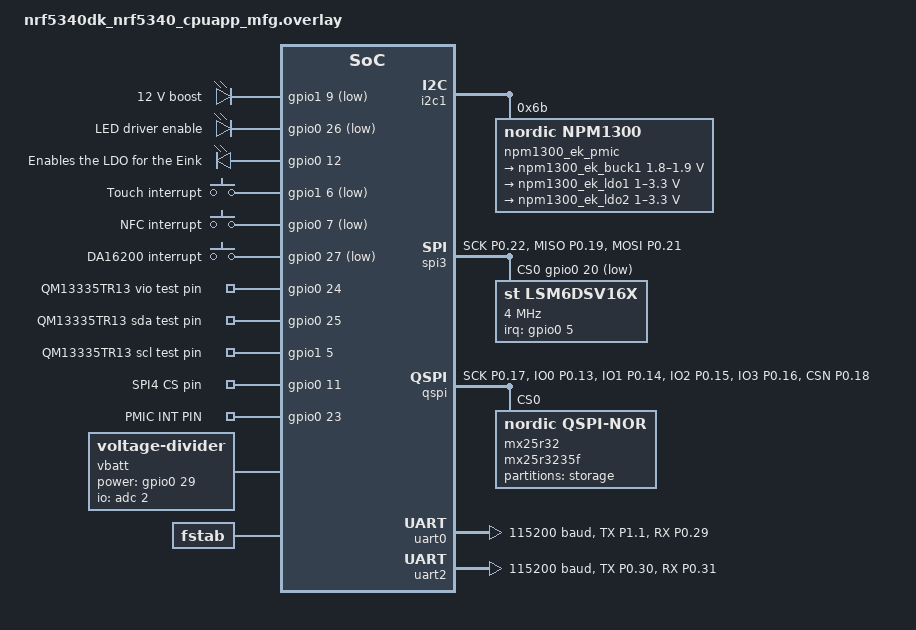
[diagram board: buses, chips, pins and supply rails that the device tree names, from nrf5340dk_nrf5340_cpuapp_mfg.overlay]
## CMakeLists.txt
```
# Copyright (c) 2023 Nordic Semiconductor ASA
# SPDX-License-Identifier: Apache-2.0

cmake_minimum_required(VERSION 3.20.0)

set(DTC_OVERLAY_FILE ./nrf5340dk_nrf5340_cpuapp_mfg.overlay)

add_compile_options(-Werror)

get_filename_component(APPLICATION_PROJECT_DIR
    ${CMAKE_CURRENT_LIST_DIR}/..
    ABSOLUTE
)


list(APPEND BOARD_ROOT ${APPLICATION_PROJECT_DIR})
list(APPEND DTS_ROOT ${APPLICATION_PROJECT_DIR})
message(ADDING BOARD_ROOT="${BOARD_ROOT}")
message(ADDING DTS_ROOT="${DTS_ROOT}")



find_package(Zephyr REQUIRED HINTS $ENV{ZEPHYR_BASE})

project(mfg_shell VERSION 1.0.1)
zephyr_library_include_directories(src/include)
target_sources(app PRIVATE src/main.c src/board.c src/shell.c src/utils.c)
add_subdirectory(src/pmic)
add_subdirectory(src/rffe)
add_subdirectory(src/modem)
add_subdirectory(src/wifi)
add_subdirectory(src/watchdog)
add_subdirectory(src/ble)
add_subdirectory(src/imu)
add_subdirectory(src/json)

add_definitions(-DAPP_VERSION_MAJOR_CMAKE=${PROJECT_VERSION_MAJOR})
add_definitions(-DAPP_VERSION_MINOR_CMAKE=${PROJECT_VERSION_MINOR})
add_definitions(-DAPP_VERSION_PATCH_CMAKE=${PROJECT_VERSION_PATCH})

# Get the current Git commit hash
execute_process(
  COMMAND git rev-parse --short=6 HEAD
  WORKING_DIRECTORY ${CMAKE_SOURCE_DIR}
  OUTPUT_VARIABLE GIT_HASH
  OUTPUT_STRIP_TRAILING_WHITESPACE
)

# Check if the repository is dirty
execute_process(
  COMMAND git status --porcelain
  WORKING_DIRECTORY ${CMAKE_SOURCE_DIR}
  OUTPUT_VARIABLE GIT_DIRTY_STATUS
  OUTPUT_STRIP_TRAILING_WHITESPACE
)

# Append '-dirty' to the version string if the repository is dirty
if(NOT GIT_DIRTY_STATUS STREQUAL "")
  set(GIT_HASH "${GIT_HASH}-dirty")
endif()

add_definitions(-DGIT_HASH_CMAKE=\"${GIT_HASH}\")

# Get the build machine name
execute_process(
  COMMAND hostname
  OUTPUT_VARIABLE BUILD_MACHINE
  OUTPUT_STRIP_TRAILING_WHITESPACE
)

# Get the build date
string(TIMESTAMP BUILD_DATE "%Y-%m-%d %H:%M:%S")

# Pass the variables to the code
add_definitions(-DBUILD_MACHINE_CMAKE=\"${BUILD_MACHINE}\")
add_definitions(-DBUILD_DATE_CMAKE=\"${BUILD_DATE}\")
```

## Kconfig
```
# Copyright (c) 2021 Nordic Semiconductor ASA
# SPDX-License-Identifier: Apache-2.0
#
# This file is the application Kconfig entry point. All application Kconfig
# options can be defined here or included via other application Kconfig files.
# You can browse these options using the west targets menuconfig (terminal) or
# guiconfig (GUI).

menu "Zephyr"
source "Kconfig.zephyr"
endmenu

module = bringup
module-str = bringup
source "subsys/logging/Kconfig.template.log_config"

config ENABLE_RFFE_TO_QM13335TR13
    bool "enable RFFE communication to QM13335TR13"
    default false
    help 
        Enable RFFE communication to QM13335TR13

config USE_UART_TO_NRF9160
    bool "use UART to nRF9160"
    default true
    help 
        Use UART to nRF9160DK

config USE_UART_TO_DA16200
    bool "use UART to DA16200"
    default true
    help 
        Use UART to DA16200
```

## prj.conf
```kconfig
CONFIG_SENSOR=y
CONFIG_GPIO=y
CONFIG_LOG=y

CONFIG_SERIAL=y
CONFIG_UART_INTERRUPT_DRIVEN=y
CONFIG_UART_ASYNC_API=y
CONFIG_UART_NRFX=y
CONFIG_PRINTK=y
CONFIG_MAIN_STACK_SIZE=8192
CONFIG_POSIX_CLOCK=y

## SHELL
CONFIG_SHELL=y
CONFIG_LED_SHELL=y
CONFIG_FLASH_SHELL=y
CONFIG_GPIO_SHELL=y


## NPM1300
CONFIG_FLASH_SHELL=y
CONFIG_GPIO_SHELL=y


## NPM1300
CONFIG_LED=y
CONFIG_REGULATOR=y
CONFIG_REGULATOR_NPM1300=y
CONFIG_REGULATOR=y
CONFIG_REGULATOR_NPM1300=y
CONFIG_LED_NPM1300=y
CONFIG_GPIO_NPM1300=y
CONFIG_NPM1300_CHARGER=y
CONFIG_NRF_FUEL_GAUGE=y
CONFIG_MFD_NPM1300=y

## FLASH
CONFIG_FLASH=y
CONFIG_SPI=n
CONFIG_NORDIC_QSPI_NOR=y 

CONFIG_NRFX_SPIM4=y
CONFIG_MAIN_STACK_SIZE=4096

## watchdog
CONFIG_WDT_LOG_LEVEL_DBG=y
CONFIG_WATCHDOG=y
CONFIG_WDT_DISABLE_AT_BOOT=n
CONFIG_WDT_NPM1300=y
#CONFIG_WDT_NPM1300_TIMEOUT_IN_MS=60000
CONFIG_COUNTER=y

#CONFIG_USE_UART_TO_NRF9160=y
CONFIG_USE_UART_TO_DA16200=y

# IMU
CONFIG_LSM6DSV16X=y
CONFIG_LSM6DSV16X_TRIGGER_OWN_THREAD=y
CONFIG_LSM6DSV16X_THREAD_STACK_SIZE=4096

CONFIG_CJSON_LIB=y

## Bringup and Mfg test
## might require hardware mods, do not use unless you know what you are doing
#CONFIG_ENABLE_RFFE_TO_QM13335TR13=y

# BLE
CONFIG_BT=y
CONFIG_BT_PERIPHERAL=y
CONFIG_BT_BAS=y
CONFIG_BT_DEVICE_NAME_DYNAMIC=y
CONFIG_BT_RX_STACK_SIZE=4096

# MCUBoot
CONFIG_BOOTLOADER_MCUBOOT=y
CONFIG_MCUBOOT_GENERATE_UNSIGNED_IMAGE=y
CONFIG_MCUBOOT_GENERATE_CONFIRMED_IMAGE=y

# NOTE: we want to save as much as possible of the 4MB external flash for storing data.
# If we want to sacrafice some external flash memory for code-space, change this to 'y',
# and add support in MCUboot for secondary image in external flash, see:
# https://github.com/CuvertEngineering/purina-d1/pull/7/files
CONFIG_PM_EXTERNAL_FLASH_MCUBOOT_SECONDARY=n

# DFU - this enables all required SMP handlers and SMP BT reassembly feature
CONFIG_NCS_SAMPLE_MCUMGR_BT_OTA_DFU=y

# Network core upgrades
CONFIG_NRF53_UPGRADE_NETWORK_CORE=y
CONFIG_DFU_MULTI_IMAGE_PACKAGE_BUILD=y
CONFIG_DFU_MULTI_IMAGE_PACKAGE_NET=y
```

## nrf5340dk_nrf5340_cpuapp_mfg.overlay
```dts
/*
 * Copyright (c) 2023 Culvert, Inc
 *
 * SPDX-License-Identifier: LicenseRef-BSD-5-Clause-Nordic
 */

 / {

    leds {
        compatible = "gpio-leds";
        uwbreset: uwb_reset_1 {
               gpios = <&gpio1 9 GPIO_ACTIVE_LOW>;
               label = "12 V boost";
        };
        ledenable: led_enable_1 {
               gpios = <&gpio0 26 GPIO_ACTIVE_LOW>;
               label = "LED driver enable";
        };
        p3v3einken: p3v3_eink_en1 {
               gpios = <&gpio0 12 GPIO_ACTIVE_HIGH>;
               label = "Enables the LDO for the Eink";
        };
    };

    buttons {
        compatible = "gpio-keys";
        touchinterrupt: touch_interrupt1 {
            gpios = <&gpio1 6 (GPIO_PULL_UP |GPIO_ACTIVE_LOW)>;
            label = "Touch interrupt";
        };

        nfcinterrupt: nfc_interrupt1 {
               gpios = <&gpio0 7 (GPIO_PULL_UP | GPIO_ACTIVE_LOW)>;
               label = "NFC interrupt";
        };

        dainterrupt: dialog_interrupt {
               gpios = <&gpio0 27 (GPIO_PULL_UP | GPIO_ACTIVE_LOW)>;
               label = "DA16200 interrupt";
        };

        antennavio:  antenna_vio {
            gpios = <&gpio0 24 (GPIO_ACTIVE_HIGH)>;
            label = "QM13335TR13 vio test pin";
        };

        antennasda:  antenna_sda {
            gpios = <&gpio0 25 (GPIO_ACTIVE_HIGH)>;
            label = "QM13335TR13 sda test pin";
        };

        antennascl:  antenna_scl {
            gpios = <&gpio1 5 (GPIO_ACTIVE_HIGH)>;
            label = "QM13335TR13 scl test pin";
        };

        spi4cs:  spi4_cs {
            gpios = <&gpio0 11 (GPIO_ACTIVE_HIGH)>;
            label = "SPI4 CS pin";
        };

        pmicInt:  pmic_int {
            gpios = <&gpio0 23 (GPIO_ACTIVE_HIGH)>;
            label = "PMIC INT PIN";
        };
    };

    vbatt {
          compatible = "voltage-divider";
          io-channels = <&adc 2>;
          output-ohms = <49900>;
          full-ohms = <(100000 + 49900)>;
          power-gpios = <&gpio0 29 GPIO_ACTIVE_HIGH>;
    };

    aliases {
        i2c1 = &i2c1;
        ledenable = &ledenable;
        touchinterrupt = &touchinterrupt;
        nfcinterrupt = &nfcinterrupt;
        p3v3einken = &p3v3einken;
        uwbreset = &uwbreset;
        dainterrupt = &dainterrupt;
        spi-flash0 = &mx25r32;
        modemuart = &uart1;
        spi4cs = &spi4cs;
        pmicint = &pmicInt;
    };
};

&pinctrl {

    uart0_default: uart0_default {
                group1 {
                    psels = <NRF_PSEL(UART_TX, 1, 1)>;
                };
                group2 {
                        psels = <NRF_PSEL(UART_RX, 0, 29)>;
                        bias-pull-up;
                };
                /delete-property/ hw-flow-control;
        };

    uart0_sleep: uart0_sleep {
            group1 {
                    psels = <NRF_PSEL(UART_TX, 1, 1)>,
                            <NRF_PSEL(UART_RX, 0, 29)>;
                    low-power-enable;
                    /delete-property/ hw-flow-control;
            };
    };

    uart_over_spi_to_9160_default: uart_over_spi_to_9160_default {
            group1 {
                    psels = <NRF_PSEL(UART_TX, 0, 9)>;
            };
            group2 {
                    psels = <NRF_PSEL(UART_RX, 0, 8)>;
                    bias-pull-up;
            };
            /delete-property/ hw-flow-control;
    };

    uart_over_spi_to_9160_sleep: uart_over_spi_to_9160_sleep {
            group1 {
                    psels = <NRF_PSEL(UART_TX, 0, 9)>,
                            <NRF_PSEL(UART_RX, 0, 8)>;
                    low-power-enable;
                    /delete-property/ hw-flow-control;
            };
    };

    uart_over_spi_to_wifi_default: uart_over_spi_to_wifi_default {
        group1 {
                psels = <NRF_PSEL(UART_TX, 0, 30)>;
        };
        group2 {
                psels = <NRF_PSEL(UART_RX, 0, 31)>;
                bias-pull-up;
        };
        /delete-property/ hw-flow-control;
    };

    uart_over_spi_to_wifi_sleep: uart_over_spi_to_wifi_sleep {
            group1 {
                    psels = <NRF_PSEL(UART_TX, 0, 30)>,
                            <NRF_PSEL(UART_RX, 0, 31)>;
                    low-power-enable;
                    /delete-property/ hw-flow-control;
            };
    };      

    i2c1_default: i2c1_default {
        group1 {
            psels = <NRF_PSEL(TWIM_SDA, 1, 3)>,
                <NRF_PSEL(TWIM_SCL, 1, 2)>;
        };
    };

    i2c1_sleep: i2c1_sleep {
        group1 {
            psels = <NRF_PSEL(TWIM_SDA, 1, 3)>,
                <NRF_PSEL(TWIM_SCL, 1, 2)>;
            low-power-enable;
        };
    };

    spi_imu_default: spi_imu_default {
        group1 {
            psels = <NRF_PSEL(SPIM_SCK, 0, 22)>,
                <NRF_PSEL(SPIM_MISO, 0, 19)>,
                <NRF_PSEL(SPIM_MOSI, 0, 21)>;
        };
    };

    spi_imu_sleep: spi_imu_sleep {
        group1 {
            psels = <NRF_PSEL(SPIM_SCK, 0, 22)>,
                <NRF_PSEL(SPIM_MISO, 0, 19)>,
                <NRF_PSEL(SPIM_MOSI, 0, 21)>;
            low-power-enable;
        };
    };

    spi4_default: spi4_default {
        group1 {
                psels = <NRF_PSEL(SPIM_SCK, 0, 8)>,
                        <NRF_PSEL(SPIM_MISO, 0, 10)>,
                        <NRF_PSEL(SPIM_MOSI, 0, 9)>,
                        <NRF_PSEL(SPIS_CSN, 0, 11)>;
        };
    };

    spi4_sleep: spi4_sleep {
        group1 {
                psels = <NRF_PSEL(SPIM_SCK, 0, 8)>,
                        <NRF_PSEL(SPIM_MISO, 0, 10)>,
                        <NRF_PSEL(SPIM_MOSI, 0, 9)>,
                        <NRF_PSEL(SPIS_CSN, 0, 11)>;
                low-power-enable;
        };
    };

    qspi_default: qspi_default {
        group1 {
            psels = <NRF_PSEL(QSPI_SCK, 0, 17)>,
                <NRF_PSEL(QSPI_IO0, 0, 13)>,
                <NRF_PSEL(QSPI_IO1, 0, 14)>,
                <NRF_PSEL(QSPI_IO2, 0, 15)>,
                <NRF_PSEL(QSPI_IO3, 0, 16)>,
                <NRF_PSEL(QSPI_CSN, 0, 18)>;
            nordic,drive-mode = <NRF_DRIVE_H0H1>;
        };
    };

    qspi_sleep: qspi_sleep {
        group1 {
            psels = <NRF_PSEL(QSPI_SCK, 0, 17)>,
                <NRF_PSEL(QSPI_IO0, 0, 13)>,
                <NRF_PSEL(QSPI_IO1, 0, 14)>,
                <NRF_PSEL(QSPI_IO2, 0, 15)>,
                <NRF_PSEL(QSPI_IO3, 0, 16)>;
            low-power-enable;
        };
        group2 {
            psels = <NRF_PSEL(QSPI_CSN, 0, 18)>;
            low-power-enable;
            bias-pull-up;
        };
    };
};

&i2c1 {
    npm1300_ek_pmic: pmic@6b {
        compatible = "nordic,npm1300";
        reg = <0x6b>;

        npm1300_ek_gpio: gpio-controller {
            compatible = "nordic,npm1300-gpio";
            gpio-controller;
            #gpio-cells = <2>;
            ngpios = <5>;
        };

        npm1300_ek_regulators: regulators {
            compatible = "nordic,npm1300-regulator";

            /* limits are set to min/max allowed values */
            npm1300_ek_buck1: BUCK1 {
                regulator-min-microvolt = <1800000>;
                regulator-max-microvolt = <1900000>;
                regulator-init-microvolt = <1900000>;
                /* set to 1.9V for boot, will be set to 1.8V by software.  Workaround for NPM1300 Errata #27 */
            };
/*
            npm1300_ek_buck2: BUCK2 {
                regulator-min-microvolt = <1000000>;
                regulator-max-microvolt = <3300000>;
                regulator-init-microvolt = <1800000>;
                retention-microvolt = <2500000>;
                enable-gpios = <&npm1300_ek_gpio 1 GPIO_ACTIVE_LOW>;
                retention-gpios = <&npm1300_ek_gpio 2 GPIO_ACTIVE_HIGH>;
                pwm-gpios = <&npm1300_ek_gpio 2 GPIO_ACTIVE_LOW>;
            };
*/
            npm1300_ek_ldo1: LDO1 {
                regulator-min-microvolt = <1000000>;
                regulator-max-microvolt = <3300000>;
                enable-gpios = <&npm1300_ek_gpio 2 GPIO_ACTIVE_LOW>;
            };

            npm1300_ek_ldo2: LDO2 {
                regulator-min-microvolt = <1000000>;
                regulator-max-microvolt = <3300000>;
                enable-gpios = <&npm1300_ek_gpio 2 GPIO_ACTIVE_LOW>;
            };
        };

        npm1300_ek_charger: charger {
            compatible = "nordic,npm1300-charger";
            term-microvolt = <4350000>;
            term-warm-microvolt = <4000000>;
            current-microamp = <385000>;
            dischg-limit-microamp = <1000000>;  // 270000 min
            vbus-limit-microamp = <500000>;
            thermistor-ohms = <10000>;
            thermistor-beta = <3435>;
            charging-enable;
        };

        npm1300_ek_leds: pmicleds {
            compatible = "nordic,npm1300-led";
            nordic,led0-mode = "host";
            nordic,led1-mode = "host";
            nordic,led2-mode = "host";
        };

        npm1300_wdt: watchdog {
            compatible = "nordic,npm1300-wdt";
            /* nordic_npm1300wdt */
        };
    };
};


// &spi2 {
//  compatible = "nordic,nrf-spim";

//  status = "okay";
//  pinctrl-0 = <&spi2_default>;
//  pinctrl-1 = <&spi2_sleep>;
//  pinctrl-names = "default", "sleep";
//  cs-gpios = <&gpio1 0 GPIO_ACTIVE_LOW>;

//  da16200@0 {
//      compatible = "dialog,da16200";
//      label = "DA16200";
//      spi-max-frequency = <8000000>;
//      reg = <0>;
//  };

// };

&spi3 {
    compatible = "nordic,nrf-spim";
    status = "okay";
    pinctrl-0 = <&spi_imu_default>;
    pinctrl-1 = <&spi_imu_sleep>;
    pinctrl-names = "default", "sleep";

    label = "SPI_4";
    cs-gpios = <&gpio0 20 GPIO_ACTIVE_LOW>;

    lsm6dsv16x@0 {
        compatible = "st,lsm6dsv16x";
                status = "okay";
                reg = <0>;
                spi-max-frequency = <4000000>;
                irq-gpios = <&gpio0 5 GPIO_ACTIVE_HIGH>;
                drdy-pin = <1>;
                drdy-pulsed;
                label = "LSM6DSV16X";
        };
};

/delete-node/ &mx25r64;

&qspi {
    status = "okay";
    pinctrl-0 = <&qspi_default>;
    pinctrl-1 = <&qspi_sleep>;
    pinctrl-names = "default", "sleep";
    mx25r32: mx25r3235f@0 {
        compatible = "nordic,qspi-nor";
        reg = <0>;
        /* MX25R64 supports only pp and pp4io */
        writeoc = "pp4io";
        /* MX25R64 supports all readoc options */
        readoc = "read4io";
        sck-frequency = <8000000>;
        jedec-id = [c2 28 16];
        sfdp-bfp = [
            e5 20 f1 ff  ff ff ff 03  44 eb 08 6b  08 3b 04 bb
            ee ff ff ff  ff ff 00 ff  ff ff 00 ff  0c 20 0f 52
            10 d8 00 ff  23 72 f5 00  82 ed 04 cc  44 83 68 44
            30 b0 30 b0  f7 c4 d5 5c  00 be 29 ff  f0 d0 ff ff
        ];
        size = <33554432>;
        has-dpd;
        t-enter-dpd = <10000>;
        t-exit-dpd = <35000>;
    };
};

/delete-node/ &storage_partition;

/ {
        fstab {
                compatible = "zephyr,fstab";
                lfs1: lfs1 {
                        compatible = "zephyr,fstab,littlefs";
                        mount-point = "/lfs1";
                        partition = <&lfs1_part>;
                        automount;
                        read-size = <16>;
                        prog-size = <16>;
                        cache-size = <64>;
                        lookahead-size = <32>;
                        block-cycles = <512>;
                };
        };
};

&mx25r32 {
        partitions {
                compatible = "fixed-partitions";
                #address-cells = <1>;
                #size-cells = <1>;

                lfs1_part: partition@0 {
                        label = "storage";
                        reg = <0x00000000 0x100000>;
                };
        };
};


&uart0 {
    status = "okay";
    current-speed = <115200>;
    pinctrl-0 = <&uart0_default>;
    pinctrl-1 = <&uart0_sleep>;
    pinctrl-names = "default", "sleep";
};

// &spi2 {
//  status = "disabled";
// };

&i2c2 {
    status = "disabled";
};

&uart2 {
    /* status = "okay"; */
    current-speed = <115200>;
    pinctrl-0 = <&uart_over_spi_to_9160_default>;
    pinctrl-1 = <&uart_over_spi_to_9160_sleep>;
    pinctrl-names = "default", "sleep";
};

&uart2 {
    status = "okay";
    current-speed = <115200>;
    pinctrl-0 = <&uart_over_spi_to_wifi_default>;
    pinctrl-1 = <&uart_over_spi_to_wifi_sleep>;
    pinctrl-names = "default", "sleep";
};



/ {
    gpio_fwd: nrf-gpio-forwarder {
        compatible = "nordic,nrf-gpio-forwarder";
        status = "disabled";
        uart {
            gpios = <&gpio1 1 0>, <&gpio1 0 0>, <&gpio0 11 0>, <&gpio0 10 0>;
        };
    };
};
```

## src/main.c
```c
/**
	@file main.c
	@brief Project main startup code.
	Copyright (c) 2023 Culvert Engineering - All Rights Reserved
 */

#include <stdlib.h>
#include <zephyr/dfu/mcuboot.h>
#include <zephyr/sys/printk.h>
#include <getopt.h>

#include "modem.h"
#include "wifi.h"
#include "watchdog.h"
#include <zephyr/logging/log.h>

#include "imu.h"
#include "ble.h"
#include "pmic.h"
#include "wifi_uart.h"

#if (CONFIG_ENABLE_RFFE_TO_QM13335TR13)
#include "rffe.h"
#endif

LOG_MODULE_REGISTER(main, LOG_LEVEL_DBG);


#define SLEEP_TIME_MS 100


////////////////////////////////////////////////////////////////////////////////////
//
// Main
//
bool initDevices() 
{

	if (pmic_init())
	{
		printk("Error: PMIC initialization failed.\n");
		return false;
	}
	set_switch_state(PMIC_SWITCH_VSYS, true);
	set_switch_state(PMIC_SWITCH_WIFI, true);

#if (CONFIG_WATCHDOG)
	if (watchdog_init())
	{
		printk("Error: watchdog initialization failed.\n");
		return false;
	}
#endif

#if (CONFIG_ENABLE_RFFE_TO_QM13335TR13)
	if (RFFE_init())
	{
		printk("Error: RFFE initialization failed.\n");
		return false;
	}
#endif

	if (modem_init())
	{
		printk("Error: 9160 Modem initialization failed.\n");
		return false;
	}

	if (wifi_init())
	{
		printk("Error: Wifi initialization failed.\n");
		return false;
	}
	if (ble_init())
	{
		printk("Error: BLE initialization failed.\n");
		return false;
	}

	if (imu_init())
	{
		printk("Error: IMU initialization failed.\n");
		return false;
	}

	return true;
}


// ASSET_TRACKER_V2 Batt Level Stuff
void do_asset_tracker_update_fuel_gauge(struct k_work *work) {
	fuel_gauge_info_t info;
    fuel_gauge_get_latest(&info);
	LOG_DBG("Sending updated battery percentage: %f", info.soc);
	modem_send_command(MESSAGE_TYPE_BATTERY_LEVEL, 1, (uint8_t*)(&(info.soc)), sizeof(info.soc));
}
K_WORK_DEFINE(my_fuel_gauge_work, do_asset_tracker_update_fuel_gauge);
void my_fuel_gauge_timer_handler(struct k_timer *dummy)
{
    k_work_submit(&my_fuel_gauge_work);
}
K_TIMER_DEFINE(my_fuel_gauge_timer, my_fuel_gauge_timer_handler, NULL);


uint8_t full_ssid_buf2[5000]={0};
int full_ssid_buf2_index= 0;
uint8_t ssid_rx_buf2[1000]={0};
char packet_to_send2[2000];
int packet_to_send2_index= 0;
static void parse_ssids(const char* buf)
{
    #define TAB 9
    #define EOL 10
    printf("%s\n",buf);
    enum states {MAC, CHANNEL,RSSI, CREDS,SSID};
    enum states sm_state = MAC;

    char* match = strstr(&buf[1],"+WFSCAN");
    if( match == NULL){
        printf("this is NOT a wifi packet, abort\n");
        return;
    }else{
        if( match == &buf[1]){
            printf("this is a TRULY  wifi packet\n");
        }else {
            printf("this is STILL NOT a wifi packet\n");
            return;
        }
    }
    memset(packet_to_send2,0,2000);
    packet_to_send2_index=0;
    for(int i = 9 ;i <strlen(buf);i++){
        switch(buf[i]){
        case TAB:
            printf(" +  ");
            switch(sm_state){
                case MAC:
                    packet_to_send2[packet_to_send2_index++]= ',';
                    sm_state  = CHANNEL;
                    break;
                case CHANNEL:
                    sm_state  = RSSI;
                    break;
                case RSSI:
                    sm_state  = CREDS;
                    break;
                case CREDS:
                    sm_state  = SSID;
                    break;
                default:
                    break;
            }
            break;
        case EOL:
            printf("+");
            packet_to_send2[packet_to_send2_index++]= '\n';
            sm_state = MAC;
            break;
        default:
            if( sm_state == RSSI ||
                sm_state == MAC ){
                printf("%c",buf[i]);
                packet_to_send2[packet_to_send2_index++]= buf[i];
            }
        }
    }
    packet_to_send2[packet_to_send2_index]= 0;
    printf("[%d]%s\n",packet_to_send2_index, packet_to_send2);
    modem_send_command(MESSAGE_TYPE_SSIDS, 0x1, packet_to_send2, packet_to_send2_index);
}
#define SSID_SCAN_INTERVAL (55)
void do_asset_tracker_update_ssids(struct k_work *work)
{
#if 1
    char* my_string = "AT+WFSCAN\r";
    full_ssid_buf2_index =0;
    memset(full_ssid_buf2,0,sizeof(full_ssid_buf2));
    if (true) {
        while (wifi_recv_line(ssid_rx_buf2, K_MSEC(100)) == 0) {
			//Purge
		}
        wifi_send(my_string);
        while (wifi_recv_line(ssid_rx_buf2, K_MSEC(1000)) == 0) {
            if(strstr(ssid_rx_buf2,"+WFSCAN") == NULL){
                continue;
            }
            int rx_cnt = strlen(ssid_rx_buf2);
            strcpy(&full_ssid_buf2[full_ssid_buf2_index],&ssid_rx_buf2[0]);
            full_ssid_buf2_index += rx_cnt;
            memset(ssid_rx_buf2, 0,1000);
        }
    }
    parse_ssids(full_ssid_buf2);
    wifi_sleep((SSID_SCAN_INTERVAL-5)*1000);
#else 
    (void)parse_ssids;
    unsigned char packet_to_send2[5]= {0xFF};
    modem_send_command(MESSAGE_TYPE_JSON, 0x1, packet_to_send2, 5);
#endif    
}

// ASSET_TRACKER_V2 SSID Stuff
// void do_asset_tracker_update_ssids(struct k_work *work) {
// 	// uint8_t ssidList[][7] = {
// 	// 	{0x9c,0x3d,0xcf,0x3e,0x93,0xb6, 53},
// 	// 	{0x9e,0x3d,0xcf,0x3e,0x93,0xb7, 54},
// 	// 	{0x78,0x8c,0xb5,0x3b,0x84,0xd6, 65},
// 	// 	{0x38,0xa0,0x67,0x84,0xf5,0xa5, 42},
// 	// 	{0x38,0xa0,0x67,0x84,0xf5,0xa4, 71},
// 	// 	{0x78,0x8c,0xb5,0x3b,0x8b,0xa6, 58},
// 	// 	{0x7e,0x8c,0xb5,0x3b,0x8b,0xa6, 55}
// 	// };
// 	// LOG_DBG("Sending updated ssid list");
// 	modem_send_command(MESSAGE_TYPE_SSIDS, 1, (uint8_t*)&ssidList[0], 7*7);
// }
K_WORK_DEFINE(my_ssids_work, do_asset_tracker_update_ssids);
void my_ssids_timer_handler(struct k_timer *dummy)
{
    k_work_submit(&my_ssids_work);
}
K_TIMER_DEFINE(my_ssids_timer, my_ssids_timer_handler, NULL);


////////////////////////////////////////////////////////////////////////////////////
//
// Main
//
int main(void)
{

	if (!initDevices())
	{
		printk("Error: Device initialization failed.\n");
		return -1;
	}

	/*
	   mark the currently running firmware image as OK,
	   which will install it permanently after an OTA
	 */
	boot_write_img_confirmed();

	k_timer_start(&my_fuel_gauge_timer, K_SECONDS(30), K_SECONDS(60));
	k_timer_start(&my_ssids_timer, K_SECONDS(60), K_SECONDS(60));

	while (1)
	{

		k_msleep(SLEEP_TIME_MS);
	}
}
```

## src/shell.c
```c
#include <zephyr/logging/log_ctrl.h>
#include <zephyr/logging/log.h>
#include <zephyr/shell/shell.h>
#include <stdlib.h>
#include <stdio.h>
#include <zephyr/sys/reboot.h> // for shell reboot command
#include "app_version.h"
LOG_MODULE_REGISTER(shell, LOG_LEVEL_DBG);

static int version(const struct shell *sh, size_t argc, char **argv)
{
    shell_fprintf(sh, SHELL_NORMAL, "App version %d.%d.%d (%s)\r\n", APP_VERSION_MAJOR,
                  APP_VERSION_MINOR, APP_VERSION_PATCH, GIT_HASH);

    shell_fprintf(sh, SHELL_NORMAL, "Built on %s by %s\r\n", DBUILD_DATE, DBUILD_MACHINE);
    return 0;
}

static int system_reboot(const struct shell *sh, size_t argc, char **argv)
{
    shell_print(sh, "rebooting...\n");
    sys_reboot(SYS_REBOOT_COLD);
}

SHELL_CMD_REGISTER(version, NULL, "app version", version);
SHELL_CMD_REGISTER(reboot, NULL, "reboot system", system_reboot);
```

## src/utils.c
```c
#include <stdint.h>
#include <stdbool.h>
#include <zephyr/logging/log.h>
#include <zephyr/posix/time.h>
#include <zephyr/sys/byteorder.h>

LOG_MODULE_REGISTER(utils, LOG_LEVEL_DBG);

// current time with millisecond resolution
uint64_t utils_get_currentmillis(void)
{
    struct timespec ts;
    clock_gettime(CLOCK_REALTIME, &ts);

    uint64_t t = (ts.tv_sec) * 1000 + ts.tv_nsec / 1000000;
    return sys_cpu_to_be64(t);
}
```
